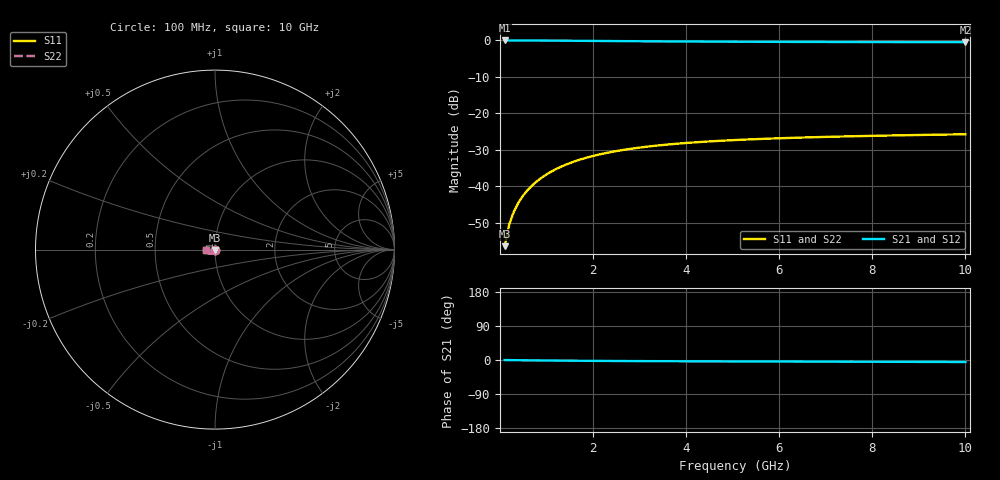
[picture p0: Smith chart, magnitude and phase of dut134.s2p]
! Touchstone file exported from HFSS 2024.1.0
!  File:  C:/UserFiles/LocalFiles/RDL_TSV_Batchsim/temp_TSV1_134_1778765305.aedt
!  Generated:  09:35:06 PM May 14, 2026
!  Design:  TSV1
!  Project:  temp_TSV1_134_1778765305
!  Setup:  Setup1
!  Solution:  Sweep
! Variables:
!  dtsv = 12.38um
!  hbump = 3um
!  htsv = 81.92um
!  lrdl = 252.1521522um
!  p = 40
!  p1 = 55.62um
!  t = 500um
!  trdl = 3um
!  wrdl = 24.89489489um
# GHz S MA R 50.000000
! Terminal data exported
! Port[1] = TSV22_T1
! Port[2] = TSV22_T2
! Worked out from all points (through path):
!   100 points, 100 MHz to 10 GHz, reference 50 ohm
!   highest |S21| = 0.00 dB at 100 MHz (marker M1); lowest = -0.5 dB at 10 GHz (marker M2)
!   lowest |S11| = -56.4 dB at 100 MHz (marker M3), VSWR 1.00, Z = 50 - j0.151 ohm
!   |S11| at or under -10 dB: start of sweep to end of sweep
!   |S22| runs from -56.4 to -25.7 dB; largest |S21 - S12| = 6.9e-15
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0.1  0.00151 -88.3  0.9998 -0.1  0.9998 -0.1  0.00151 -88.3
! Gamma 0 0 0 0
! Port Impedance 50 0 50 0
0.2  0.003016 -91.8  0.9997 -0.3  0.9997 -0.3  0.003016 -91.8
0.3  0.004519 -94.3  0.9994 -0.4  0.9994 -0.4  0.004519 -94.3
0.4  0.006015 -96.4  0.9991 -0.6  0.9991 -0.6  0.006015 -96.4
0.5  0.007497 -98.5  0.9986 -0.7  0.9986 -0.7  0.007497 -98.5
0.6  0.008961 -100.4  0.9981 -0.8  0.9981 -0.8  0.008961 -100.4
0.7  0.0104 -102.4  0.9975 -1.0  0.9975 -1.0  0.0104 -102.4
0.8  0.01182 -104.3  0.9968 -1.1  0.9968 -1.1  0.01182 -104.3
0.9  0.0132 -106.1  0.996 -1.2  0.996 -1.2  0.0132 -106.1
1.1  0.01587 -109.8  0.9944 -1.4  0.9944 -1.4  0.01587 -109.8
1.4  0.01961 -114.9  0.9915 -1.8  0.9915 -1.8  0.01961 -114.9
1.6  0.02191 -118.1  0.9895 -1.9  0.9895 -1.9  0.02191 -118.1
1.8  0.02406 -121.2  0.9874 -2.1  0.9874 -2.1  0.02406 -121.2
2.1  0.02699 -125.6  0.9842 -2.4  0.9842 -2.4  0.02699 -125.6
2.5  0.0304 -130.9  0.9801 -2.6  0.9801 -2.6  0.0304 -130.9
2.9  0.0333 -135.7  0.9762 -2.9  0.9762 -2.9  0.0333 -135.7
3.4  0.03633 -141.0  0.9718 -3.1  0.9718 -3.1  0.03633 -141.0
4.2  0.04009 -148.3  0.9659 -3.4  0.9659 -3.4  0.04009 -148.3
5.1  0.04322 -155.1  0.9607 -3.8  0.9607 -3.8  0.04322 -155.1
6.7  0.04703 -164.7  0.9542 -4.3  0.9542 -4.3  0.04703 -164.7
8.4  0.04976 -172.7  0.9497 -4.8  0.9497 -4.8  0.04976 -172.7
10  0.0517 -179.0  0.9469 -5.3  0.9469 -5.3  0.0517 -179.0
